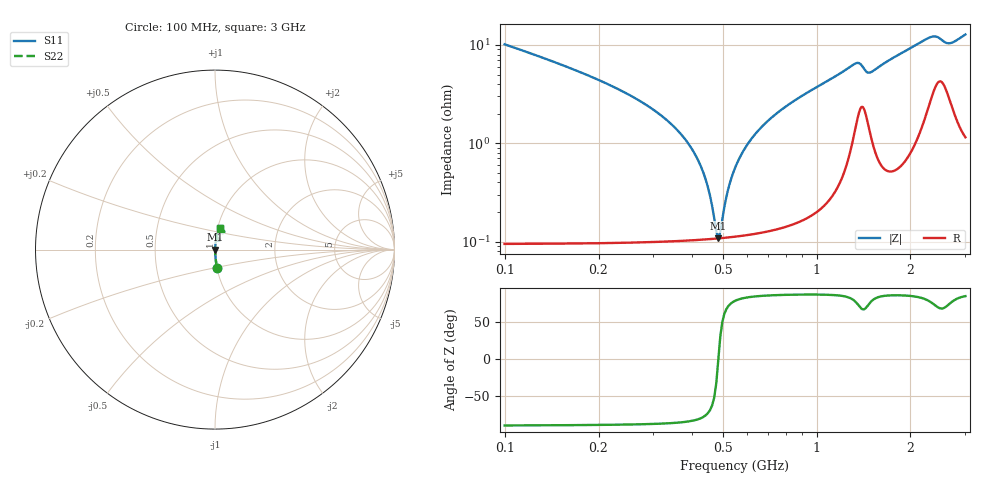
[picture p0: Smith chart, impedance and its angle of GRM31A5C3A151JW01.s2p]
!Murata Part Number: GRM31A5C3A151JW01
!These Parameters are Measured in Series Mode Connection
!Data Generated on Mar 30, 2021
!  o--ll--o
!Port1  Port2
!  o------o
!Operation Temp=25[degC], DC Bias Voltage=0[V]
!Freq. Start=100[MHz] Stop=3[GHz] 401[Steps]
# Hz S RI R 50
!Freq.(Hz) S11(Real) S11(Imag) S21(Real) S21(Imag) S12(Real) S12(Imag) S22(Real) S22(Imag)
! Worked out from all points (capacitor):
!   401 points, 100 MHz to 3 GHz, reference 50 ohm
!   read as one part in series: C = 150 pF near 114.5 MHz
!   lowest |Z| = 108 mohm at 484.2 MHz (marker M1)
!   series resonance near 484.4 MHz, so ESL is about 720 pH
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1e8  0.0111 -0.1004  0.9889 0.1004  0.9889 0.1004  0.0111 -0.1004
3.175e8  0.00136 -0.0191  0.9986 0.0191  0.9986 0.0191  0.00136 -0.0191
3.8275e8  0.00113 -0.0105  0.9989 0.0105  0.9989 0.0105  0.00113 -0.0105
4.335e8  0.00107 -0.00491  0.9989 0.00491  0.9989 0.00491  0.00107 -0.00491
4.48e8  0.00106 -0.00346  0.9989 0.00346  0.9989 0.00346  0.00106 -0.00346
4.6975e8  0.00107 -0.00136  0.9989 0.00136  0.9989 0.00136  0.00107 -0.00136
4.8425e8  0.00107 -1.62e-05  0.9989 1.62e-05  0.9989 1.62e-05  0.00107 -1.62e-05
4.9875e8  0.00109 0.00129  0.9989 -0.00129  0.9989 -0.00129  0.00109 0.00129
5.205e8  0.00111 0.00319  0.9989 -0.00319  0.9989 -0.00319  0.00111 0.00319
5.35e8  0.00113 0.00442  0.9989 -0.00442  0.9989 -0.00442  0.00113 0.00442
5.8575e8  0.00122 0.00851  0.9988 -0.00851  0.9988 -0.00851  0.00122 0.00851
6.5825e8  0.00141 0.0139  0.9986 -0.0139  0.9986 -0.0139  0.00141 0.0139
7.525e8  0.00176 0.0205  0.9982 -0.0205  0.9982 -0.0205  0.00176 0.0205
1.0715e9  0.00416 0.0418  0.9958 -0.0418  0.9958 -0.0418  0.00416 0.0418
1.33975e9  0.019 0.0613  0.981 -0.0613  0.981 -0.0613  0.019 0.0613
1.463e9  0.0177 0.0483  0.9823 -0.0483  0.9823 -0.0483  0.0177 0.0483
1.55e9  0.0108 0.0554  0.9892 -0.0554  0.9892 -0.0554  0.0108 0.0554
2.03575e9  0.0176 0.0931  0.9824 -0.0931  0.9824 -0.0931  0.0176 0.0931
2.34025e9  0.0413 0.1095  0.9587 -0.1095  0.9587 -0.1095  0.0413 0.1095
2.5215e9  0.0497 0.0951  0.9503 -0.0951  0.9503 -0.0951  0.0497 0.0951
2.681e9  0.0352 0.0948  0.9648 -0.0948  0.9648 -0.0948  0.0352 0.0948
3e9  0.0268 0.1226  0.9732 -0.1226  0.9732 -0.1226  0.0268 0.1226
